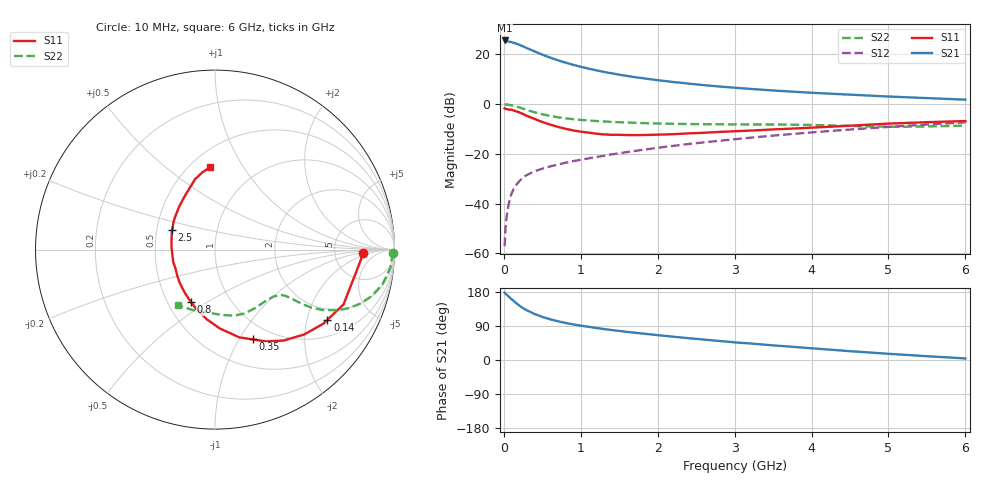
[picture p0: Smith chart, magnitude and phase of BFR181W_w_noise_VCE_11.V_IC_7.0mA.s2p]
! Infineon Technologies  Discrete & RF Semiconductors
! BFR181W
! VCE =  11. V,  IC =  7.0 mA
! Common Emitter S-Parameters:  Jan 2017
# GHz  S  MA  R  50
!  f  S11  S21  S12  S22
! GHz  MAG  ANG  MAG  ANG  MAG  ANG  MAG  ANG
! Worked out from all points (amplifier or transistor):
!   77 points, 10 MHz to 6 GHz, reference 50 ohm
!   highest |S21| = 25.6 dB at 10 MHz (marker M1)
!   |S21| within 3 dB of that: start of sweep to 294.4 MHz
!   unconditionally stable (mu >= 1): 1.218 GHz to 3.296 GHz
!   at 130 MHz: K = 0.20, MSG = 29.3 dB, |S12| = -33.9 dB
!   at 2.2 GHz: K = 1.07, MAG = 11.3 dB, |S12| = -16.8 dB
!   at 6 GHz: K = 0.86, MSG = 4.6 dB, |S12| = -7.3 dB
!   lowest NFmin = 1.08 dB at 450 MHz
!   S11 on the Smith chart (normalised r, x): 10 MHz: 10, -1; 140 MHz: 1.55, -2.67; 350 MHz: 0.81, -1.14; 800 MHz: 0.65, -0.43; 2.5 GHz: 0.60, +0.14; 6 GHz: 0.62, +0.72
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0.01  0.8253 -1.4  19.16 177.7  0.0014 75.0  0.9943 -1.1
0.02  0.8076 -5.8  18.77 175.2  0.003 92.6  0.988 -2.2
0.04  0.795 -9.5  18.53 171.7  0.006 81.6  0.9839 -4.7
0.1  0.7786 -23.1  17.71 160.5  0.016 78.2  0.9535 -11.6
0.14  0.7384 -32.0  16.95 153.8  0.0214 74.4  0.919 -15.5
0.2  0.6858 -43.6  15.66 143.8  0.0282 69.9  0.8623 -20.5
0.25  0.6351 -52.9  14.57 136.9  0.0339 65.7  0.8141 -23.6
0.3  0.5849 -61.0  13.44 130.9  0.0379 63.4  0.7665 -26.1
0.35  0.5421 -67.3  12.45 126.4  0.0414 62.0  0.7269 -27.6
0.4  0.5069 -74.6  11.55 121.2  0.0449 60.9  0.6878 -29.3
0.5  0.4404 -86.5  9.931 113.7  0.0507 59.1  0.6281 -31.0
0.6  0.3909 -96.7  8.685 107.5  0.0563 58.7  0.5822 -31.8
0.7  0.3513 -106.4  7.672 102.4  0.0608 59.2  0.5472 -32.2
0.8  0.3213 -114.7  6.879 97.9  0.0666 59.8  0.5209 -32.5
1.1  0.2681 -137.8  5.207 87.6  0.0815 61.4  0.471 -33.3
1.6  0.24 -168.7  3.711 74.2  0.1092 63.3  0.4301 -36.7
2.1  0.2468 168.9  2.922 63.6  0.1392 63.7  0.4073 -42.7
2.5  0.2628 155.2  2.509 55.8  0.1647 63.1  0.3983 -48.9
3.1  0.2905 138.8  2.092 45.1  0.2049 61.1  0.393 -58.6
4.1  0.3441 118.9  1.672 29.4  0.2788 55.7  0.3794 -75.4
5.1  0.413 104.4  1.408 15.1  0.3578 48.2  0.3528 -99.5
6  0.4587 93.6  1.237 4.1  0.4316 40.2  0.3728 -123.6
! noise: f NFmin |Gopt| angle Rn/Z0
0.45  1.08  0.24  17  0.22
0.9  1.13  0.22  31  0.21
1.9  1.55  0.09  86  0.19
2.4  1.7  0.08  96  0.23
